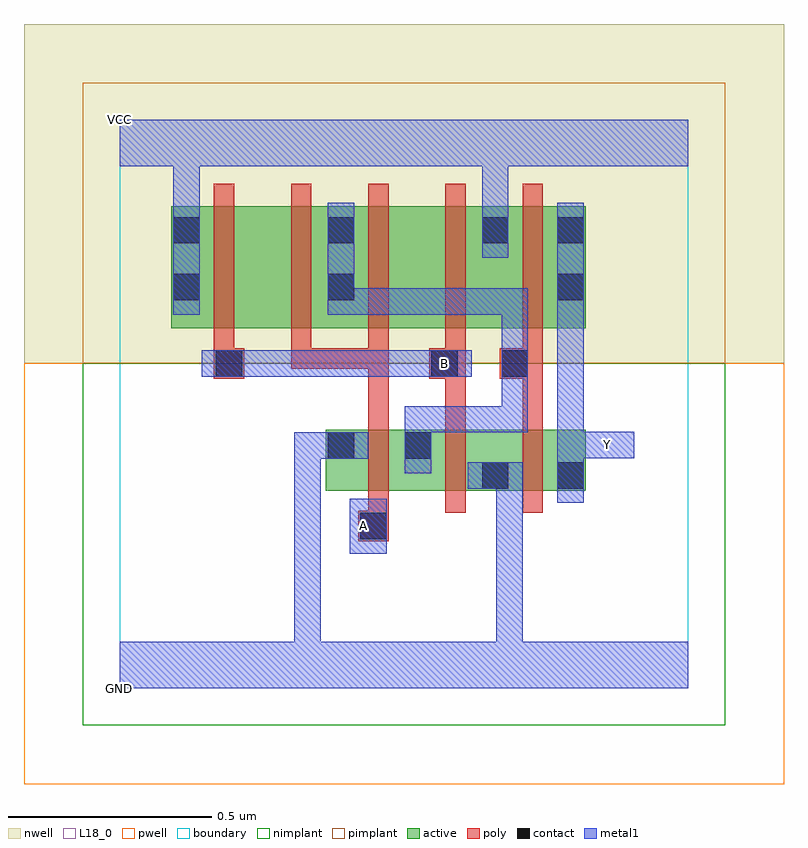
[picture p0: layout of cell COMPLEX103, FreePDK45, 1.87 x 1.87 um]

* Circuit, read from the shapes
.subckt COMPLEX103 A B GND VCC Y
M1 n1 A GND VSUBS nfet w=0.15u l=0.05u
M2 GND B n1 VSUBS nfet w=0.15u l=0.05u
M3 Y n1 GND VSUBS nfet w=0.15u l=0.05u
M4 n2 B VCC n3 pfet w=0.3u l=0.05u
M5 n1 A n2 n3 pfet w=0.3u l=0.05u
M6 n4 A n1 n3 pfet w=0.3u l=0.05u
M7 VCC B n4 n3 pfet w=0.3u l=0.05u
M8 Y n1 VCC n3 pfet w=0.3u l=0.05u
.ends

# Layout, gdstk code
import gdstk
lib = gdstk.Library(unit=1e-6, precision=1e-09)
def R(c, l, rs):  # rectangles x0, y0, x1, y1
    for r in rs: c.add(gdstk.rectangle(r[:2], r[2:], *l))
def A(c, l, x, y, w, h, nx, ny, dx, dy):  # array of equal rectangles
    R(c, l, [(x+i*dx, y+j*dy, x+i*dx+w, y+j*dy+h) for i in range(nx) for j in range(ny)])
active = (1, 0)
pwell = (2, 0)
nwell = (3, 0)
nimplant = (4, 0)
pimplant = (5, 0)
poly = (9, 0)
contact = (10, 0)
metal1 = (11, 0)
L18_0 = (18, 0)
boundary = (235, 0)

complex103 = lib.new_cell('COMPLEX103')
R(complex103, active, [(0.507,0.487,0.582,0.637), (0.507,0.487,0.772,0.637), (0.697,0.487,0.772,0.637), (0.697,0.487,0.962,0.637), (0.887,0.487,1.147,0.637), (0.887,0.487,0.962,0.562), (1.072,0.487,1.147,0.637), (0.127,0.887,0.202,1.165), (0.127,0.887,0.352,1.187), (0.352,0.887,0.582,1.187), (0.507,0.887,0.582,1.165), (0.507,0.887,0.732,1.187), (0.732,0.887,0.962,1.187), (0.887,0.887,1.147,1.187), (1.072,0.887,1.147,1.165), (0.887,1.007,0.962,1.165)])
R(complex103, pwell, [(-0.235,-0.235,1.635,0.8)])
R(complex103, nwell, [(-0.235,0.8,1.635,1.635)])
R(complex103, nimplant, [(-0.09,-0.09,1.49,0.8)])
R(complex103, pimplant, [(-0.09,0.8,1.49,1.49)])
A(complex103, poly, 0.612, 0.432, 0.05, 0.26, 3, 1, 0.19, 0)
A(complex103, poly, 0.232, 0.787, 0.05, 0.095, 5, 1, 0.19, 0)
A(complex103, poly, 0.232, 0.832, 0.05, 0.41, 5, 1, 0.19, 0)
R(complex103, poly, [(0.587,0.362,0.662,0.437), (0.612,0.387,0.662,0.482), (0.612,0.642,0.662,0.837), (0.802,0.642,0.852,0.812), (0.992,0.642,1.042,0.812), (0.232,0.762,0.307,0.837), (0.762,0.762,0.852,0.837), (0.935,0.762,1.042,0.837), (0.422,0.787,0.662,0.837), (0.422,0.787,0.472,0.837), (0.422,0.787,0.472,0.837), (0.422,0.787,0.472,0.837), (0.612,0.787,0.662,0.837)])
A(complex103, contact, 0.132, 1.095, 0.065, 0.065, 3, 1, 0.38, 0)
R(complex103, contact, [(0.592,0.367,0.657,0.432), (0.892,0.492,0.957,0.557), (1.077,0.492,1.142,0.557), (0.512,0.565,0.577,0.63), (0.702,0.565,0.767,0.63), (0.237,0.767,0.302,0.832), (0.767,0.767,0.832,0.832), (0.94,0.767,1.005,0.832), (0.132,0.955,0.197,1.02), (0.512,0.955,0.577,1.02), (1.077,0.955,1.142,1.02), (1.077,1.095,1.142,1.16)])
R(complex103, metal1, [(0,0,1.4,0.115), (0.43,0.05,0.495,0.63), (0.927,0.05,0.992,0.557), (0.567,0.332,0.657,0.467), (1.077,0.457,1.142,0.592), (0.857,0.492,0.992,0.557), (0.927,0.492,0.992,0.557), (0.927,0.492,0.992,0.557), (0.927,0.492,0.992,0.557), (0.927,0.492,0.992,0.557), (0.927,0.492,0.992,0.557), (0.927,0.492,0.992,0.557), (0.927,0.492,0.992,0.557), (0.927,0.492,0.992,0.557), (1.077,0.527,1.142,0.632), (0.702,0.53,0.767,0.665), (0.43,0.565,0.495,0.63), (0.43,0.565,0.495,0.63), (0.43,0.565,0.495,0.63), (0.43,0.565,0.495,0.63), (0.43,0.565,0.495,0.63), (0.43,0.565,0.495,0.63), (0.43,0.565,0.495,0.63), (0.43,0.565,0.495,0.63), (0.43,0.565,0.612,0.63), (1.077,0.567,1.142,0.985), (1.077,0.567,1.267,0.632), (0.702,0.6,0.767,0.665), (0.702,0.6,0.767,0.695), (0.702,0.63,1.005,0.695), (0.94,0.63,1.005,0.695), (0.94,0.63,1.005,0.867), (0.94,0.732,1.005,0.867), (0.202,0.767,0.337,0.832), (0.272,0.767,0.337,0.832), (0.272,0.767,0.337,0.832), (0.272,0.767,0.475,0.832), (0.41,0.767,0.475,0.832), (0.41,0.767,0.63,0.832), (0.565,0.767,0.63,0.832), (0.565,0.767,0.63,0.832), (0.565,0.767,0.63,0.832), (0.565,0.767,0.785,0.832), (0.72,0.767,0.785,0.832), (0.72,0.767,0.797,0.832), (0.732,0.767,0.867,0.832), (0.94,0.802,1.005,0.867), (0.94,0.802,1.005,0.867), (0.94,0.802,1.005,0.985), (0.132,0.92,0.197,1.195), (0.512,0.92,0.577,1.195), (0.512,0.92,0.63,0.985), (0.565,0.92,0.63,0.985), (0.565,0.92,0.767,0.985), (0.702,0.92,0.767,0.985), (0.702,0.92,0.767,0.985), (0.702,0.92,0.767,0.985), (0.702,0.92,1.005,0.985), (0.94,0.92,1.005,0.985), (1.077,0.92,1.142,1.195), (0.892,1.06,0.957,1.195), (0.132,1.13,0.197,1.35), (0.892,1.13,0.957,1.195), (0.892,1.13,0.957,1.195), (0.892,1.13,0.957,1.35), (0,1.285,1.4,1.4), (0.132,1.285,0.197,1.35), (0.132,1.285,0.197,1.35)])
R(complex103, L18_0, [(0,0,1.4,0.115), (0.43,0.05,0.495,0.63), (0.927,0.05,0.992,0.557), (0.567,0.332,0.657,0.467), (0.567,0.367,0.632,0.432), (1.077,0.457,1.142,0.592), (0.857,0.492,0.992,0.557), (0.927,0.492,0.992,0.557), (0.927,0.492,0.992,0.557), (0.927,0.492,0.992,0.557), (0.927,0.492,0.992,0.557), (0.927,0.492,0.992,0.557), (0.927,0.492,0.992,0.557), (0.927,0.492,0.992,0.557), (0.927,0.492,0.992,0.557), (1.077,0.527,1.142,0.632), (0.43,0.565,0.495,0.63), (0.43,0.565,0.495,0.63), (0.43,0.565,0.495,0.63), (0.43,0.565,0.495,0.63), (0.43,0.565,0.495,0.63), (0.43,0.565,0.495,0.63), (0.43,0.565,0.495,0.63), (0.43,0.565,0.495,0.63), (0.43,0.565,0.612,0.63), (1.077,0.567,1.267,0.632), (1.077,0.567,1.142,0.985), (1.167,0.567,1.232,0.632), (0.202,0.767,0.337,0.832), (0.272,0.767,0.337,0.832), (0.272,0.767,0.337,0.832), (0.272,0.767,0.475,0.832), (0.41,0.767,0.475,0.832), (0.41,0.767,0.63,0.832), (0.565,0.767,0.63,0.832), (0.565,0.767,0.63,0.832), (0.565,0.767,0.63,0.832), (0.565,0.767,0.785,0.832), (0.72,0.767,0.785,0.832), (0.72,0.767,0.797,0.832), (0.732,0.767,0.867,0.832), (0.767,0.767,0.832,0.832), (0.132,0.92,0.197,1.195), (1.077,0.92,1.142,1.195), (0.892,1.06,0.957,1.195), (0.132,1.13,0.197,1.35), (0.892,1.13,0.957,1.195), (0.892,1.13,0.957,1.195), (0.892,1.13,0.957,1.35), (0,1.285,1.4,1.4), (0.132,1.285,0.197,1.35), (0.132,1.285,0.197,1.35)])
R(complex103, boundary, [(0,0,1.4,1.4)])
complex103.add(gdstk.Label('A', (0.6,0.4), layer=11, texttype=0))
complex103.add(gdstk.Label('B', (0.8,0.8), layer=11, texttype=0))
complex103.add(gdstk.Label('Y', (1.2,0.6), layer=11, texttype=0))
complex103.add(gdstk.Label('VCC', (0,1.4), layer=11, texttype=0))
complex103.add(gdstk.Label('GND', (0,0), layer=11, texttype=0))

lib.write_gds('COMPLEX103.gds')
